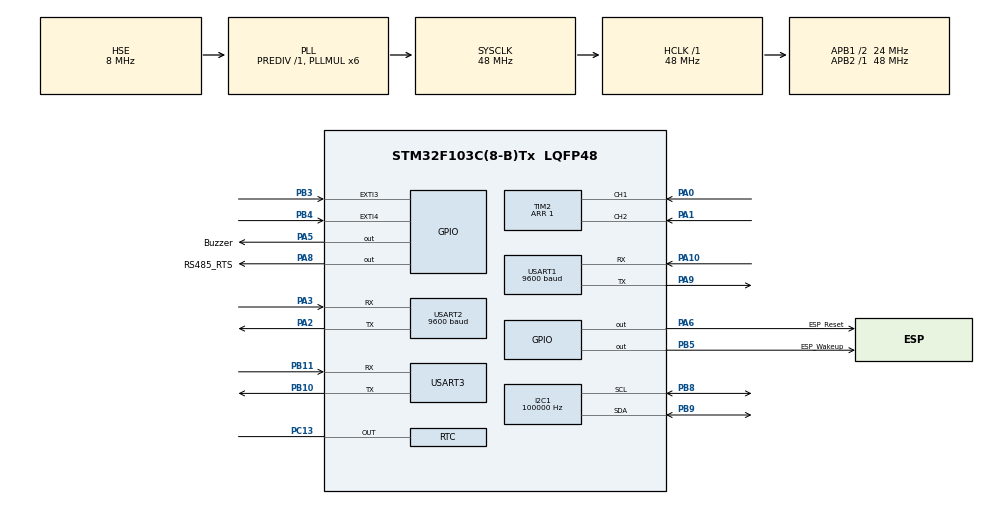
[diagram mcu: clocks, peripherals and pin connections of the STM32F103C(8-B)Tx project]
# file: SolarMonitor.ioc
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I2C1.ClockSpeed=100000
Mcu.Family=STM32F1
Mcu.Name=STM32F103C(8-B)Tx
Mcu.Package=LQFP48
NVIC.EXTI3_IRQn=true\:0\:0\:false\:false\:true\:true\:true
NVIC.EXTI4_IRQn=true\:0\:0\:false\:false\:true\:true\:true
NVIC.PriorityGroup=NVIC_PRIORITYGROUP_4
NVIC.RTC_Alarm_IRQn=true\:0\:0\:false\:false\:true\:true\:true
NVIC.TIM2_IRQn=true\:0\:0\:false\:false\:true\:true\:true
NVIC.TIM3_IRQn=true\:0\:0\:false\:false\:true\:true\:true
NVIC.TIM4_IRQn=true\:0\:0\:false\:false\:true\:true\:true
NVIC.USART1_IRQn=true\:0\:0\:false\:false\:true\:true\:true
NVIC.USART3_IRQn=true\:0\:0\:false\:false\:true\:true\:true
PA0-WKUP.GPIO_PuPd=GPIO_PULLUP
PA0-WKUP.Signal=S_TIM2_CH1_ETR
PA1.GPIO_PuPd=GPIO_PULLUP
PA1.Signal=S_TIM2_CH2
PA10.Mode=Asynchronous
PA10.Signal=USART1_RX
PA13.Mode=Serial_Wire
PA13.Signal=SYS_JTMS-SWDIO
PA14.Mode=Serial_Wire
PA14.Signal=SYS_JTCK-SWCLK
PA2.Mode=Asynchronous
PA2.Signal=USART2_TX
PA3.Mode=Asynchronous
PA3.Signal=USART2_RX
PA5.GPIO_Label=Buzzer
PA5.GPIO_PuPd=GPIO_NOPULL
PA5.Signal=GPIO_Output
PA6.GPIO_Label=ESP_Reset
PA6.GPIO_PuPd=GPIO_PULLUP
PA6.PinState=GPIO_PIN_SET
PA6.Signal=GPIO_Output
PA8.GPIO_Label=RS485_RTS
PA8.GPIO_PuPd=GPIO_PULLDOWN
PA8.Signal=GPIO_Output
PA9.Mode=Asynchronous
PA9.Signal=USART1_TX
PB10.Mode=Asynchronous
PB10.Signal=USART3_TX
PB11.Mode=Asynchronous
PB11.Signal=USART3_RX
PB3.GPIO_ModeDefaultEXTI=GPIO_MODE_IT_FALLING
PB3.GPIO_PuPd=GPIO_PULLUP
PB3.Signal=GPXTI3
PB4.GPIO_ModeDefaultEXTI=GPIO_MODE_IT_FALLING
PB4.GPIO_PuPd=GPIO_PULLUP
PB4.Signal=GPXTI4
PB5.GPIO_Label=ESP_Wakeup
PB5.GPIO_PuPd=GPIO_PULLUP
PB5.PinState=GPIO_PIN_SET
PB5.Signal=GPIO_Output
PB8.GPIO_Speed=GPIO_SPEED_FREQ_HIGH
PB8.Mode=I2C
PB8.Signal=I2C1_SCL
PB9.GPIO_Speed=GPIO_SPEED_FREQ_HIGH
PB9.Mode=I2C
PB9.Signal=I2C1_SDA
PC13-TAMPER-RTC.Mode=RTC OUT
PC13-TAMPER-RTC.Signal=RTC_OUT
PC14-OSC32_IN.Mode=LSE-External-Oscillator
PC14-OSC32_IN.Signal=RCC_OSC32_IN
PC15-OSC32_OUT.Mode=LSE-External-Oscillator
PC15-OSC32_OUT.Signal=RCC_OSC32_OUT
PD0-OSC_IN.Mode=HSE-External-Oscillator
PD0-OSC_IN.Signal=RCC_OSC_IN
PD1-OSC_OUT.Mode=HSE-External-Oscillator
PD1-OSC_OUT.Signal=RCC_OSC_OUT
ProjectManager.HeapSize=0x200
ProjectManager.StackSize=0x400
ProjectManager.TargetToolchain=Makefile
RCC.AHBFreq_Value=48000000
RCC.APB1CLKDivider=RCC_HCLK_DIV2
RCC.APB1Freq_Value=24000000
RCC.APB1TimFreq_Value=48000000
RCC.APB2Freq_Value=48000000
RCC.APB2TimFreq_Value=48000000
RCC.HCLKFreq_Value=48000000
RCC.PLLMUL=RCC_PLL_MUL6
RCC.PLLSourceVirtual=RCC_PLLSOURCE_HSE
RCC.RTCClockSelection=RCC_RTCCLKSOURCE_LSE
RCC.SYSCLKFreq_VALUE=48000000
RCC.SYSCLKSource=RCC_SYSCLKSOURCE_PLLCLK
RCC.USBFreq_Value=48000000
RTC.AutoPrediv=RTC_AUTO_1_SECOND
RTC.Date=22
RTC.Format=RTC_FORMAT_BIN
RTC.Hours=4
RTC.Minutes=55
RTC.Month=RTC_MONTH_SEPTEMBER
RTC.WeekDay=RTC_WEEKDAY_TUESDAY
RTC.Year=20
SH.S_TIM2_CH1_ETR.0=TIM2_CH1,Encoder_Interface
SH.S_TIM2_CH2.0=TIM2_CH2,Encoder_Interface
TIM2.ClockDivision=TIM_CLOCKDIVISION_DIV1
TIM2.EncoderMode=TIM_ENCODERMODE_TI1
TIM2.IC2Prescaler=TIM_ICPSC_DIV1
TIM2.Period=1
TIM3.Period=49
TIM3.Prescaler=83
TIM4.Period=10000
TIM4.Prescaler=3000
USART1.BaudRate=9600
USART1.VirtualMode=VM_ASYNC
USART2.BaudRate=9600
USART2.Mode=MODE_TX
USART2.VirtualMode=VM_ASYNC
USART3.VirtualMode=VM_ASYNC
VP_RTC_VS_RTC_Activate.Mode=RTC_Enabled
VP_RTC_VS_RTC_Calendar.Mode=RTC_Calendar
VP_TIM3_VS_ClockSourceINT.Mode=Internal
VP_TIM4_VS_ClockSourceINT.Mode=Internal
board=custom

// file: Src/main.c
/* USER CODE BEGIN Header */
/**
  ******************************************************************************
  * @file           : main.c
  * @brief          : Main program body
  ******************************************************************************
  * @attention
  *
  * <h2><center>&copy; Copyright (c) 2019 STMicroelectronics.
  * All rights reserved.</center></h2>
  *
  * This software component is licensed by ST under BSD 3-Clause license,
  * the "License"; You may not use this file except in compliance with the
  * License. You may obtain a copy of the License at:
  *                        opensource.org/licenses/BSD-3-Clause
  *
  ******************************************************************************
  */
/* USER CODE END Header */

#include "main.h"

I2C_HandleTypeDef hi2c1;

RTC_HandleTypeDef hrtc;

TIM_HandleTypeDef htim2;
TIM_HandleTypeDef htim3;
TIM_HandleTypeDef htim4;

UART_HandleTypeDef huart1;
UART_HandleTypeDef huart2;
UART_HandleTypeDef huart3;

/* USER CODE BEGIN PV */

RTC_TimeTypeDef realTime = {0};
RTC_DateTypeDef realDate = {0};

uint8_t lastSendHour = 80;

uint32_t lastReqTime;

uint32_t lastInteractionTime;
const uint32_t interactionAbsenceMaxTime = 10000;

double lastEnergy = 0;

const char MenuElements[4][16] = {{"Output Now:"}, {"Energy today:"}, {"Week mid. value:"}, {"Element 4"}};
const char ElementsUnits[4][6] = {{" KW"}, {" KWhr"}, {" KWhr"}, {" U4"}};

char Data[4][13] = {"0.0", "0.0", "0.0", "0.0"};
char EnergyData[7][12] = {"0.0", "0.0", "0.0", "0.0", "0.0", "0.0", "0.0"};

char ExceptionArr[15] = {0};
uint8_t ExceptionNum = 0;

uint8_t selectedElemIndex = 0;
uint8_t buttonIsPressed = 0;
uint8_t daysScroll = 0;
uint8_t scrollCount = 0;

/* USER CODE END PV */

void SystemClock_Config(void);
static void MX_GPIO_Init(void);
static void MX_I2C1_Init(void);
static void MX_TIM2_Init(void);
static void MX_RTC_Init(void);
static void MX_TIM3_Init(void);
static void MX_TIM4_Init(void);
static void MX_USART1_UART_Init(void);
static void MX_USART3_UART_Init(void);
static void MX_USART2_UART_Init(void);

int main(void)
{

  /* MCU Configuration--------------------------------------------------------*/

  /* Reset of all peripherals, Initializes the Flash interface and the Systick. */
  HAL_Init();

  /* Configure the system clock */
  SystemClock_Config();

  /* Initialize all configured peripherals */
  MX_GPIO_Init();
  MX_I2C1_Init();
  MX_TIM2_Init();
  MX_RTC_Init();
  MX_TIM3_Init();
  MX_TIM4_Init();
  MX_USART1_UART_Init();
  MX_USART3_UART_Init();
  MX_USART2_UART_Init();
  /* USER CODE BEGIN 2 */

  // Set up timer for Encoder
	HAL_TIM_Encoder_Start(&htim2, TIM_CHANNEL_2);
	HAL_Delay(1000);

  // Initialize lcd display
	lcd_init();
	lcd_clear();
	lcd_put_cur(0,0);
	lcd_send_string(MenuElements[selectedElemIndex]);
	lcd_put_cur(1,0);
  char DataStr[16] = {0};
	strcpy(DataStr, Data[selectedElemIndex]);
	strcat(DataStr, ElementsUnits[selectedElemIndex]);
	lcd_send_string(DataStr);

	//  Staring Modbus
	StartMB(&huart1);

  // Get data from Modbus
  DataRequest();
  lastReqTime = lastInteractionTime;

	//  Get real time from the server
  InitRealTime(&huart3, &hrtc, &realTime);
  // char commandToSend[2] = "1";
	// char* responseRx = TxESP(&huart3, commandToSend);
	// if(strcmp(responseRx, "Error 2") != 0 && strcmp(responseRx, "0") != 0) {
	// 	DelException('2');
	// 	realTime.Hours = atoi(strtok(responseRx,":"));
	// 	realTime.Minutes = atoi(strtok(NULL,":"));
	// 	realTime.Seconds = 0;
	// 	if (HAL_RTC_SetTime(&hrtc, &realTime, RTC_FORMAT_BIN) != HAL_OK)
	// 	{
	// 		Error_Handler();
	// 	}
	// }else
	// 	AddException('2');

	// free(responseRx);

  // Initialize lastInteractionTime
	lastInteractionTime = HAL_GetTick();

  /* USER CODE END 2 */

  /* Infinite loop */
  /* USER CODE BEGIN WHILE */
  while (1)
  {
    if(ExceptionNum != 0)
      HAL_GPIO_WritePin(GPIOA, Buzzer_Pin, GPIO_PIN_SET);

    HAL_RTC_GetTime(&hrtc, &realTime, RTC_FORMAT_BIN);

    if(ExceptionNum == 0 && ((realTime.Hours > 4 && realTime.Hours <= 22) || (realTime.Hours == 4 && realTime.Minutes > 0)))
    {
      if(realTime.Minutes<=50 && lastSendHour != realTime.Hours)
      {
        sendEnergyDelta();
        lastSendHour = realTime.Hours;

        char mess[25] = {0};
        sprintf(mess, "Data sent, Time: %u:%u", realTime.Hours, realTime.Minutes);
        HAL_UART_Transmit(&huart2, (uint8_t *) mess, 25, 0xFFFF);
      }
    }

    scrollCount = __HAL_TIM_GET_COUNTER(&htim2);
    if(scrollCount == 1)
    {
      lastInteractionTime = HAL_GetTick();
      if(buttonIsPressed != 1)
      {
        if(__HAL_TIM_IS_TIM_COUNTING_DOWN(&htim2) == 0)
        {
          if(selectedElemIndex !=0)
          {
            selectedElemIndex--;
          }else {
            selectedElemIndex = 3;
          }
          RefreshLCDAnim(0);
        }
        if(__HAL_TIM_IS_TIM_COUNTING_DOWN(&htim2) == 1)
        {
          if(selectedElemIndex != 3)
          {
            selectedElemIndex++;
          }else {
            selectedElemIndex = 0;
          }
          RefreshLCDAnim(1);

        }
      }else
      {
        lcd_put_cur(0,7);
        if(((TIM2->CR1) & 0x10) == 0x00)
        {
          if(daysScroll !=0 && daysScroll != 1)
          {
            daysScroll--;
            char daysStr[7];
            sprintf(daysStr, "%u", daysScroll);
            strcat(daysStr, "d bef:");
            lcd_send_string(daysStr);
          }else if(daysScroll ==1)
          {
            daysScroll = 0;
            lcd_send_string("today: ");
          }else
          {
            daysScroll = 6;
            lcd_send_string("6d bef:");
          }
        }
        if(((TIM2->CR1) & 0x10) == 0x10)
        {
          if(daysScroll !=6)
          {
            daysScroll++;
            char daysStr[7];
            sprintf(daysStr, "%u", daysScroll);
            strcat(daysStr, "d bef:");
            lcd_send_string(daysStr);
          }else
          {
            daysScroll = 0;
            lcd_send_string("today: ");
          }
        }
      }
      HAL_Delay(200);
      __HAL_TIM_SET_COUNTER(&htim2, 0);
      DataRequest();
    }

    if(HAL_GetTick() - lastReqTime > 5000)
    {
      DataRequest();
    }

    // char hourStr[6] = {0};
    // sprintf(hourStr, "%u", realTime.Hours);
    // char minStr[5] = {0};
    // sprintf(minStr, "%u", realTime.Minutes);
    // strcat(hourStr, minStr);
    // lcd_clear();
    // lcd_put_cur(0,0);
    // lcd_send_string(hourStr);
    // HAL_Delay(200);

    // If there is no interection for more then interactionAbsenceMaxTime, go to sleep...
    if(HAL_GetTick() - lastInteractionTime > interactionAbsenceMaxTime)
    {
      sleepBegin(&hrtc, &realTime, &huart3, &selectedElemIndex, &scrollCount, &buttonIsPressed, &lastInteractionTime, &huart2);
    }

    /* USER CODE END WHILE */

  }
}

void SystemClock_Config(void)
{
  RCC_OscInitTypeDef RCC_OscInitStruct = {0};
  RCC_ClkInitTypeDef RCC_ClkInitStruct = {0};
  RCC_PeriphCLKInitTypeDef PeriphClkInit = {0};

  /** Initializes the CPU, AHB and APB busses clocks
  */
  RCC_OscInitStruct.OscillatorType = RCC_OSCILLATORTYPE_HSE|RCC_OSCILLATORTYPE_LSE;
  RCC_OscInitStruct.HSEState = RCC_HSE_ON;
  RCC_OscInitStruct.HSEPredivValue = RCC_HSE_PREDIV_DIV1;
  RCC_OscInitStruct.LSEState = RCC_LSE_ON;
  RCC_OscInitStruct.HSIState = RCC_HSI_ON;
  RCC_OscInitStruct.PLL.PLLState = RCC_PLL_ON;
  RCC_OscInitStruct.PLL.PLLSource = RCC_PLLSOURCE_HSE;
  RCC_OscInitStruct.PLL.PLLMUL = RCC_PLL_MUL6;
  if (HAL_RCC_OscConfig(&RCC_OscInitStruct) != HAL_OK)
  {
    Error_Handler();
  }
  /** Initializes the CPU, AHB and APB busses clocks
  */
  RCC_ClkInitStruct.ClockType = RCC_CLOCKTYPE_HCLK|RCC_CLOCKTYPE_SYSCLK
                              |RCC_CLOCKTYPE_PCLK1|RCC_CLOCKTYPE_PCLK2;
  RCC_ClkInitStruct.SYSCLKSource = RCC_SYSCLKSOURCE_PLLCLK;
  RCC_ClkInitStruct.AHBCLKDivider = RCC_SYSCLK_DIV1;
  RCC_ClkInitStruct.APB1CLKDivider = RCC_HCLK_DIV2;
  RCC_ClkInitStruct.APB2CLKDivider = RCC_HCLK_DIV1;

  if (HAL_RCC_ClockConfig(&RCC_ClkInitStruct, FLASH_LATENCY_1) != HAL_OK)
  {
    Error_Handler();
  }
  PeriphClkInit.PeriphClockSelection = RCC_PERIPHCLK_RTC;
  PeriphClkInit.RTCClockSelection = RCC_RTCCLKSOURCE_LSE;
  if (HAL_RCCEx_PeriphCLKConfig(&PeriphClkInit) != HAL_OK)
  {
    Error_Handler();
  }
}

static void MX_I2C1_Init(void)
{

  hi2c1.Instance = I2C1;
  hi2c1.Init.ClockSpeed = 100000;
  hi2c1.Init.DutyCycle = I2C_DUTYCYCLE_2;
  hi2c1.Init.OwnAddress1 = 0;
  hi2c1.Init.AddressingMode = I2C_ADDRESSINGMODE_7BIT;
  hi2c1.Init.DualAddressMode = I2C_DUALADDRESS_DISABLE;
  hi2c1.Init.OwnAddress2 = 0;
  hi2c1.Init.GeneralCallMode = I2C_GENERALCALL_DISABLE;
  hi2c1.Init.NoStretchMode = I2C_NOSTRETCH_DISABLE;
  if (HAL_I2C_Init(&hi2c1) != HAL_OK)
  {
    Error_Handler();
  }

}

static void MX_RTC_Init(void)
{

  RTC_TimeTypeDef sTime = {0};
  RTC_DateTypeDef DateToUpdate = {0};
  RTC_AlarmTypeDef sAlarm = {0};

  /** Initialize RTC Only
  */
  hrtc.Instance = RTC;
  hrtc.Init.AsynchPrediv = RTC_AUTO_1_SECOND;
  hrtc.Init.OutPut = RTC_OUTPUTSOURCE_ALARM;
  if (HAL_RTC_Init(&hrtc) != HAL_OK)
  {
    Error_Handler();
  }

  /** Initialize RTC and set the Time and Date
  */
  sTime.Hours = 4;
  sTime.Minutes = 55;
  sTime.Seconds = 0;

  if (HAL_RTC_SetTime(&hrtc, &sTime, RTC_FORMAT_BIN) != HAL_OK)
  {
    Error_Handler();
  }
  DateToUpdate.WeekDay = RTC_WEEKDAY_TUESDAY;
  DateToUpdate.Month = RTC_MONTH_SEPTEMBER;
  DateToUpdate.Date = 22;
  DateToUpdate.Year = 20;

  if (HAL_RTC_SetDate(&hrtc, &DateToUpdate, RTC_FORMAT_BIN) != HAL_OK)
  {
    Error_Handler();
  }
  /** Enable the Alarm A
  */
  sAlarm.AlarmTime.Hours = 0;
  sAlarm.AlarmTime.Minutes = 0;
  sAlarm.AlarmTime.Seconds = 0;
  sAlarm.Alarm = RTC_ALARM_A;
  if (HAL_RTC_SetAlarm_IT(&hrtc, &sAlarm, RTC_FORMAT_BIN) != HAL_OK)
  {
    Error_Handler();
  }

}

static void MX_TIM2_Init(void)
{

  TIM_Encoder_InitTypeDef sConfig = {0};
  TIM_MasterConfigTypeDef sMasterConfig = {0};

  htim2.Instance = TIM2;
  htim2.Init.Prescaler = 0;
  htim2.Init.CounterMode = TIM_COUNTERMODE_UP;
  htim2.Init.Period = 1;
  htim2.Init.ClockDivision = TIM_CLOCKDIVISION_DIV1;
  htim2.Init.AutoReloadPreload = TIM_AUTORELOAD_PRELOAD_DISABLE;
  sConfig.EncoderMode = TIM_ENCODERMODE_TI1;
  sConfig.IC1Polarity = TIM_ICPOLARITY_RISING;
  sConfig.IC1Selection = TIM_ICSELECTION_DIRECTTI;
  sConfig.IC1Prescaler = TIM_ICPSC_DIV1;
  sConfig.IC1Filter = 0;
  sConfig.IC2Polarity = TIM_ICPOLARITY_RISING;
  sConfig.IC2Selection = TIM_ICSELECTION_DIRECTTI;
  sConfig.IC2Prescaler = TIM_ICPSC_DIV1;
  sConfig.IC2Filter = 0;
  if (HAL_TIM_Encoder_Init(&htim2, &sConfig) != HAL_OK)
  {
    Error_Handler();
  }
  sMasterConfig.MasterOutputTrigger = TIM_TRGO_RESET;
  sMasterConfig.MasterSlaveMode = TIM_MASTERSLAVEMODE_DISABLE;
  if (HAL_TIMEx_MasterConfigSynchronization(&htim2, &sMasterConfig) != HAL_OK)
  {
    Error_Handler();
  }

}

static void MX_TIM3_Init(void)
{

  TIM_ClockConfigTypeDef sClockSourceConfig = {0};
  TIM_MasterConfigTypeDef sMasterConfig = {0};

  htim3.Instance = TIM3;
  htim3.Init.Prescaler = 83;
  htim3.Init.CounterMode = TIM_COUNTERMODE_UP;
  htim3.Init.Period = 49;
  htim3.Init.ClockDivision = TIM_CLOCKDIVISION_DIV1;
  htim3.Init.AutoReloadPreload = TIM_AUTORELOAD_PRELOAD_DISABLE;
  if (HAL_TIM_Base_Init(&htim3) != HAL_OK)
  {
    Error_Handler();
  }
  sClockSourceConfig.ClockSource = TIM_CLOCKSOURCE_INTERNAL;
  if (HAL_TIM_ConfigClockSource(&htim3, &sClockSourceConfig) != HAL_OK)
  {
    Error_Handler();
  }
  sMasterConfig.MasterOutputTrigger = TIM_TRGO_RESET;
  sMasterConfig.MasterSlaveMode = TIM_MASTERSLAVEMODE_DISABLE;
  if (HAL_TIMEx_MasterConfigSynchronization(&htim3, &sMasterConfig) != HAL_OK)
  {
    Error_Handler();
  }

}

static void MX_TIM4_Init(void)
{

  TIM_ClockConfigTypeDef sClockSourceConfig = {0};
  TIM_MasterConfigTypeDef sMasterConfig = {0};

  htim4.Instance = TIM4;
  htim4.Init.Prescaler = 3000;
  htim4.Init.CounterMode = TIM_COUNTERMODE_UP;
  htim4.Init.Period = 10000;
  htim4.Init.ClockDivision = TIM_CLOCKDIVISION_DIV1;
  htim4.Init.AutoReloadPreload = TIM_AUTORELOAD_PRELOAD_DISABLE;
  if (HAL_TIM_Base_Init(&htim4) != HAL_OK)
  {
    Error_Handler();
  }
  sClockSourceConfig.ClockSource = TIM_CLOCKSOURCE_INTERNAL;
  if (HAL_TIM_ConfigClockSource(&htim4, &sClockSourceConfig) != HAL_OK)
  {
    Error_Handler();
  }
  sMasterConfig.MasterOutputTrigger = TIM_TRGO_RESET;
  sMasterConfig.MasterSlaveMode = TIM_MASTERSLAVEMODE_DISABLE;
  if (HAL_TIMEx_MasterConfigSynchronization(&htim4, &sMasterConfig) != HAL_OK)
  {
    Error_Handler();
  }

}

static void MX_USART1_UART_Init(void)
{

  huart1.Instance = USART1;
  huart1.Init.BaudRate = 9600;
  huart1.Init.WordLength = UART_WORDLENGTH_8B;
  huart1.Init.StopBits = UART_STOPBITS_1;
  huart1.Init.Parity = UART_PARITY_NONE;
  huart1.Init.Mode = UART_MODE_TX_RX;
  huart1.Init.HwFlowCtl = UART_HWCONTROL_NONE;
  huart1.Init.OverSampling = UART_OVERSAMPLING_16;
  if (HAL_UART_Init(&huart1) != HAL_OK)
  {
    Error_Handler();
  }

}

static void MX_USART2_UART_Init(void)
{

  huart2.Instance = USART2;
  huart2.Init.BaudRate = 9600;
  huart2.Init.WordLength = UART_WORDLENGTH_8B;
  huart2.Init.StopBits = UART_STOPBITS_1;
  huart2.Init.Parity = UART_PARITY_NONE;
  huart2.Init.Mode = UART_MODE_TX;
  huart2.Init.HwFlowCtl = UART_HWCONTROL_NONE;
  huart2.Init.OverSampling = UART_OVERSAMPLING_16;
  if (HAL_UART_Init(&huart2) != HAL_OK)
  {
    Error_Handler();
  }

}

static void MX_USART3_UART_Init(void)
{

  huart3.Instance = USART3;
  huart3.Init.BaudRate = 115200;
  huart3.Init.WordLength = UART_WORDLENGTH_8B;
  huart3.Init.StopBits = UART_STOPBITS_1;
  huart3.Init.Parity = UART_PARITY_NONE;
  huart3.Init.Mode = UART_MODE_TX_RX;
  huart3.Init.HwFlowCtl = UART_HWCONTROL_NONE;
  huart3.Init.OverSampling = UART_OVERSAMPLING_16;
  if (HAL_UART_Init(&huart3) != HAL_OK)
  {
    Error_Handler();
  }

}

static void MX_GPIO_Init(void)
{
  GPIO_InitTypeDef GPIO_InitStruct = {0};

  /* GPIO Ports Clock Enable */
  __HAL_RCC_GPIOC_CLK_ENABLE();
  __HAL_RCC_GPIOD_CLK_ENABLE();
  __HAL_RCC_GPIOA_CLK_ENABLE();
  __HAL_RCC_GPIOB_CLK_ENABLE();

  /*Configure GPIO pin Output Level */
  HAL_GPIO_WritePin(GPIOA, Buzzer_Pin|RS485_RTS_Pin, GPIO_PIN_RESET);

  /*Configure GPIO pin Output Level */
  HAL_GPIO_WritePin(ESP_Reset_GPIO_Port, ESP_Reset_Pin, GPIO_PIN_SET);

  /*Configure GPIO pin Output Level */
  HAL_GPIO_WritePin(ESP_Wakeup_GPIO_Port, ESP_Wakeup_Pin, GPIO_PIN_SET);

  /*Configure GPIO pin : Buzzer_Pin */
  GPIO_InitStruct.Pin = Buzzer_Pin;
  GPIO_InitStruct.Mode = GPIO_MODE_OUTPUT_PP;
  GPIO_InitStruct.Pull = GPIO_NOPULL;
  GPIO_InitStruct.Speed = GPIO_SPEED_FREQ_LOW;
  HAL_GPIO_Init(Buzzer_GPIO_Port, &GPIO_InitStruct);

  /*Configure GPIO pin : ESP_Reset_Pin */
  GPIO_InitStruct.Pin = ESP_Reset_Pin;
  GPIO_InitStruct.Mode = GPIO_MODE_OUTPUT_PP;
  GPIO_InitStruct.Pull = GPIO_PULLUP;
  GPIO_InitStruct.Speed = GPIO_SPEED_FREQ_LOW;
  HAL_GPIO_Init(ESP_Reset_GPIO_Port, &GPIO_InitStruct);

  /*Configure GPIO pin : RS485_RTS_Pin */
  GPIO_InitStruct.Pin = RS485_RTS_Pin;
  GPIO_InitStruct.Mode = GPIO_MODE_OUTPUT_PP;
  GPIO_InitStruct.Pull = GPIO_PULLDOWN;
  GPIO_InitStruct.Speed = GPIO_SPEED_FREQ_LOW;
  HAL_GPIO_Init(RS485_RTS_GPIO_Port, &GPIO_InitStruct);

  /*Configure GPIO pins : PB3 PB4 */
  GPIO_InitStruct.Pin = GPIO_PIN_3|GPIO_PIN_4;
  GPIO_InitStruct.Mode = GPIO_MODE_IT_FALLING;
  GPIO_InitStruct.Pull = GPIO_PULLUP;
  HAL_GPIO_Init(GPIOB, &GPIO_InitStruct);

  /*Configure GPIO pin : ESP_Wakeup_Pin */
  GPIO_InitStruct.Pin = ESP_Wakeup_Pin;
  GPIO_InitStruct.Mode = GPIO_MODE_OUTPUT_PP;
  GPIO_InitStruct.Pull = GPIO_PULLUP;
  GPIO_InitStruct.Speed = GPIO_SPEED_FREQ_LOW;
  HAL_GPIO_Init(ESP_Wakeup_GPIO_Port, &GPIO_InitStruct);

  /* EXTI interrupt init*/
  HAL_NVIC_SetPriority(EXTI3_IRQn, 0, 0);
  HAL_NVIC_EnableIRQ(EXTI3_IRQn);

  HAL_NVIC_SetPriority(EXTI4_IRQn, 0, 0);
  HAL_NVIC_EnableIRQ(EXTI4_IRQn);

}

/* USER CODE BEGIN 4 */

uint8_t ExceptionExists(const char exceptionCode)
{
  uint8_t i = 0, pos = 100;
  while(ExceptionArr[i] != '\0'){
    if(ExceptionArr[i] == exceptionCode) {
      pos = i;
      break;
    }
    i++;
  }
  return pos;
}

void AddException(const char exceptionCode)
{
  uint8_t pos = ExceptionExists(exceptionCode);
  if(pos == 100){

    char mess[10] = {0};
    strcpy(mess, "Error ");
    mess[6] = exceptionCode;
    HAL_UART_Transmit(&huart2, (uint8_t *) mess, 10, 0xFFFF);

    ExceptionArr[strlen(ExceptionArr)] = exceptionCode;
    ExceptionNum++;
    RefreshLCD();
  }
}

void DelException(const char exceptionCode)
{
  uint8_t pos = ExceptionExists(exceptionCode);
  if(pos != 100){
    while(ExceptionArr[pos] != '\0')
    {
      ExceptionArr[pos] = ExceptionArr[pos+1];
      pos++;
    }
    ExceptionNum--;
    RefreshLCD();
  }
  if(ExceptionNum == 0)
    HAL_GPIO_WritePin(GPIOA, Buzzer_Pin, GPIO_PIN_RESET);
}

void DelAllExceptions()
{
  uint8_t i = 0;
  while(ExceptionArr[i] != '\0')
  {
    ExceptionArr[i] = '\0';
    i++;
  }
  ExceptionNum = 0;
  HAL_GPIO_WritePin(GPIOA, Buzzer_Pin, GPIO_PIN_RESET);
}

void DataRequest()
{
  char* getRX;

	if(selectedElemIndex == 0)
	{
		getRX = MBGetQuery(&huart1, 64250, 1);
    if(strcmp(Data[selectedElemIndex], getRX) != 0)
    {
      strcpy(Data[selectedElemIndex], getRX);
      RefreshLCD();
    }
	}else if(selectedElemIndex == 1){
		getRX = MBGetQuery(&huart1, 2052+(daysScroll*2), 2);
    if(strcmp(EnergyData[daysScroll], getRX) != 0)
    {
      if(buttonIsPressed != 1)
      {
        strcpy(EnergyData[daysScroll], getRX);
        RefreshLCD();
      }
    }
	}else if(selectedElemIndex == 2)
	{
		double summ = 0;
		for(int i=0; i<7; i++)
		{
			getRX = MBGetQuery(&huart1, 2052+i*2, 2);
      summ += atof(getRX);
		}
		char middVal[12] = {0};
    summ /= 7;
		snprintf(middVal, sizeof middVal, "%.1lf", summ);
    if(strcmp(Data[selectedElemIndex], middVal) != 0)
    {
      strcpy(Data[selectedElemIndex], middVal);
      RefreshLCD();
    }
	}
	lastReqTime = HAL_GetTick();
}

void sendEnergyDelta()
{
  // Get and calculate energy delta
  char* getRX;
	double TotalEnergy = 0.0;

	getRX = MBGetQuery(&huart1, 2050, 2);
  TotalEnergy = atof(getRX);

  // Send energy delta to the server
  char commandToSend[25];
  snprintf(commandToSend, sizeof commandToSend, "2 %.1lf", TotalEnergy);

  char responseRx[15];
  TxESP(&huart3, commandToSend, responseRx, 15);
  if(strcmp(responseRx, "Error 3") != 0 && strcmp(responseRx, "0") != 0) {
    DelException('3');
  } else
    AddException('3');
}

void LoadingScreen()
{
  lcd_clear();
  lcd_put_cur(0, 0);
  lcd_send_string("Loading...");
}

void RefreshLCD()
{
	lcd_clear();
	lcd_put_cur(0,0);
  if(ExceptionNum == 0) {
    lcd_send_string(MenuElements[selectedElemIndex]);
    if(selectedElemIndex == 1)
    {
      DayChangeLCD();
    }else
    {
      lcd_put_cur(1,0);
      char DataStr[16] = {0};
      strcpy(DataStr, Data[selectedElemIndex]);
      strcat(DataStr, ElementsUnits[selectedElemIndex]);
      lcd_send_string(DataStr);
    }
  } else {
    char tempStr[10] = "Error #";
    tempStr[7] = ExceptionArr[0];
    lcd_send_string(tempStr);
  }
}

void RefreshLCDAnim(uint8_t Left)
{
	uint8_t steps = 16;
	if(selectedElemIndex==2 && Left==1)
	{
		steps = 25;
	}
	for(int i = 0; i< steps ; i++)
	{
		if(Left == 1)
		{
			scrollDiaplayLeft();
		}else{
			scrollDiaplayRight();
		}

		if(i==15)
		{
			lcd_clear();
		}else
		{
			HAL_Delay(40);
		}
	}
	for(int i = 0; i<steps ; i++)
	{
		if(Left==1)
		{
			scrollDiaplayRight();
		}else {
			scrollDiaplayLeft();
		}
	}
	HAL_Delay(200);
	lcd_put_cur(0,0);
	lcd_send_string(MenuElements[selectedElemIndex]);
	if(selectedElemIndex == 1)
	{
		DayChangeLCD();
	}else
	{
		lcd_put_cur(1,0);
    char DataStr[16] = {0};
		strcpy(DataStr, Data[selectedElemIndex]);
		strcat(DataStr, ElementsUnits[selectedElemIndex]);
		lcd_send_string(DataStr);
	}

}

void DayChangeLCD(void)
{
	lcd_put_cur(0,7);
	if(daysScroll !=0)
	{
		char daysStr[7];
		sprintf(daysStr, "%u", daysScroll);
		strcat(daysStr, "d bef:");
		lcd_send_string(daysStr);
	}else{
		lcd_send_string("today: ");
	}
	lcd_put_cur(1,0);
  char DataStr[16] = {0};
	strcpy(DataStr, EnergyData[daysScroll]);
	strcat(DataStr, ElementsUnits[selectedElemIndex]);
	lcd_send_string(DataStr);
}

void HAL_TIM_PeriodElapsedCallback(TIM_HandleTypeDef *htim)
{
	if(htim->Instance == TIM2)
	{

	}
	if(htim->Instance == TIM4)
	{
		HAL_TIM_Base_Stop_IT(&htim4); // ????????????? ??????
		__HAL_GPIO_EXTI_CLEAR_IT(GPIO_PIN_4);  // ??????? ??? EXTI_PR (??? ??????????)
		NVIC_ClearPendingIRQ(EXTI4_IRQn); // ??????? ??? NVIC_ICPRx (??? ???????)
		HAL_NVIC_EnableIRQ(EXTI4_IRQn);   // ???????? ??????? ??????????
	}
}

void HAL_GPIO_EXTI_Callback(uint16_t GPIO_Pin)
{
	//Encoder button callback
  if(GPIO_Pin== GPIO_PIN_4) {
		//delayAlarm();
		lastInteractionTime = HAL_GetTick();
    HAL_NVIC_DisableIRQ(EXTI4_IRQn);
    if(ExceptionNum == 0) {
      RefreshLCD();
      if(selectedElemIndex == 1)
      {
        if(buttonIsPressed == 0)
        {
          buttonIsPressed = 1;
          lcd_put_cur(0,15);
          lcd_send_string("<");
        }else{
          buttonIsPressed = 0;

          lcd_clear();
          lcd_put_cur(0,0);
          lcd_send_string(MenuElements[selectedElemIndex]);

          DayChangeLCD();
        }
      }
    }
		HAL_TIM_Base_Start_IT(&htim4);
  }
}

void HAL_RTC_AlarmAEventCallback(RTC_HandleTypeDef *hrtc)
{

}

/* USER CODE END 4 */

void Error_Handler(void)
{
}

/************************ (C) COPYRIGHT STMicroelectronics *****END OF FILE****/
